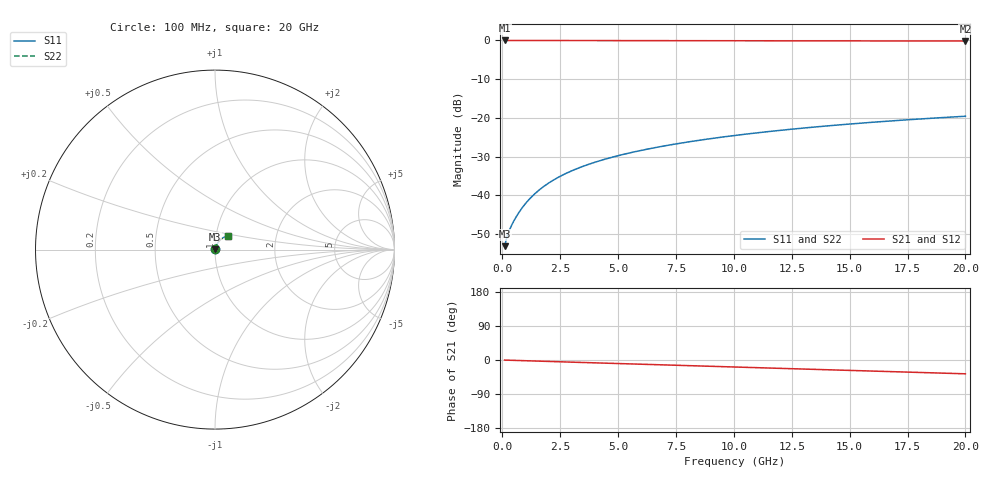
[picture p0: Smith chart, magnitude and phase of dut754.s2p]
! Touchstone file exported from HFSS 2026.1.0
!  File:  C:/ffzhzh/LocalFiles/Ansys_Project_Files/temp_train_BSMRDL_754_1783168912_43440.aedt
!  Generated:  08:43:01 PM Jul  4, 2026
!  Design:  BSMRDL
!  Project:  temp_train_BSMRDL_754_1783168912_43440
! Variables:
!  h_bsmrdl = 5.24um
!  h_ox = 20um
!  h_rdl = 5um
!  h_sub = 80um
!  h_tmrdl = 5um
!  h_tsv = 80um
!  h_via = 3um
!  l_bsmrdl = 634.87um
!  l_sub = 1034.87um
!  l_tmrdl = 200um
!  m_sub = 200um
!  pitch = 35.14um
!  r_tsv = 6um
!  s_tmrdl = 10um
!  w_bsmrdl = 26.26um
!  w_sub = 500um
!  w_tmrdl = 12um
!  x_tsv_center1 = 206um
!  x_tsv_center2 = 867.13um
!  x_tsv_center3 = 1079.13um
!  x_tsv_center4 = 1740.26um
!  x_tsv_center5 = 1952.26um
!  x_tsv_center6 = 2613.39um
# GHz S MA R 50.000000
! Terminal data exported
! Port[1] = BSM_RDL1_1_T1
! Port[2] = BSM_RDL1_1_T2
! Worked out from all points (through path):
!   200 points, 100 MHz to 20 GHz, reference 50 ohm
!   highest |S21| = -0.02 dB at 100 MHz (marker M1); lowest = -0.2 dB at 20 GHz (marker M2)
!   group delay of S21, straight-line fit = 5.04 ps
!   lowest |S11| = -53.2 dB at 100 MHz (marker M3), VSWR 1.00, Z = 50.2 + j0.107 ohm
!   |S11| at or under -10 dB: start of sweep to end of sweep
!   |S22| runs from -53.2 to -19.6 dB; largest |S21 - S12| = 2.2e-15
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0.1  0.002198 29.0  0.9981 -0.2  0.9981 -0.2  0.002198 29.0
! Gamma 0 0 0 0
! Port Impedance 50 0 50 0
0.2  0.002892 40.2  0.9978 -0.4  0.9978 -0.4  0.002893 40.2
0.3  0.003503 46.4  0.9976 -0.6  0.9976 -0.6  0.003503 46.4
0.5  0.004661 55.1  0.9974 -1.0  0.9974 -1.0  0.004661 55.1
0.6  0.005259 58.4  0.9973 -1.2  0.9973 -1.2  0.005259 58.4
0.8  0.006502 63.1  0.9972 -1.5  0.9972 -1.5  0.006502 63.1
1  0.007789 66.2  0.9971 -1.9  0.9971 -1.9  0.007789 66.2
1.2  0.009098 68.2  0.9969 -2.3  0.9969 -2.3  0.009098 68.2
1.4  0.01042 69.6  0.9968 -2.7  0.9968 -2.7  0.01042 69.6
1.7  0.01239 70.8  0.9965 -3.2  0.9965 -3.2  0.01239 70.8
2.2  0.01564 71.6  0.996 -4.2  0.996 -4.2  0.01564 71.6
2.8  0.01944 71.6  0.9954 -5.3  0.9954 -5.3  0.01944 71.6
3.5  0.02372 71.1  0.9947 -6.6  0.9947 -6.6  0.02372 71.1
4.2  0.02784 70.3  0.9939 -7.9  0.9939 -7.9  0.02785 70.3
5  0.03241 69.3  0.9931 -9.4  0.9931 -9.4  0.03242 69.3
5.9  0.03741 68.2  0.9923 -11.0  0.9923 -11.0  0.03741 68.1
6.8  0.04229 67.0  0.9914 -12.6  0.9914 -12.6  0.04229 66.9
8.3  0.05022 64.9  0.9902 -15.4  0.9902 -15.4  0.05022 64.8
10.1  0.05945 62.3  0.9887 -18.6  0.9887 -18.6  0.05946 62.2
13.4  0.07563 57.3  0.9862 -24.6  0.9862 -24.6  0.07565 57.2
16.7  0.09078 52.1  0.9837 -30.5  0.9837 -30.5  0.0908 51.9
20  0.1048 46.7  0.9812 -36.4  0.9812 -36.4  0.1048 46.6
